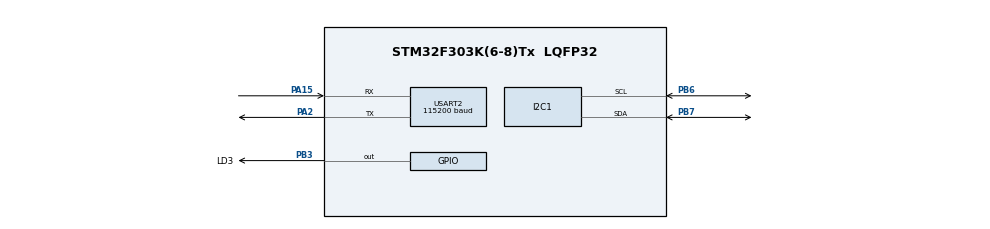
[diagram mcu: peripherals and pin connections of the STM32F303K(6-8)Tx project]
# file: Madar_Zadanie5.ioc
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I2C1.Timing=0x00201D2B
Mcu.Family=STM32F3
Mcu.Name=STM32F303K(6-8)Tx
Mcu.Package=LQFP32
NVIC.PriorityGroup=NVIC_PRIORITYGROUP_4
PA15.Mode=Asynchronous
PA15.Signal=USART2_RX
PA2.Mode=Asynchronous
PA2.Signal=USART2_TX
PB3.GPIO_Label=LD3
PB3.Signal=GPIO_Output
PB6.Mode=I2C
PB6.Signal=I2C1_SCL
PB7.Mode=I2C
PB7.Signal=I2C1_SDA
ProjectManager.HeapSize=0x200
ProjectManager.StackSize=0x400
ProjectManager.TargetToolchain=STM32CubeIDE
RCC.AHBFreq_Value=8000000
RCC.APB1Freq_Value=8000000
RCC.APB2Freq_Value=8000000
RCC.CortexFreq_Value=8000000
RCC.HSE_VALUE=8000000
RCC.HSI_VALUE=8000000
RCC.SYSCLKFreq_VALUE=8000000
USART2.BaudRate=115200
USART2.VirtualMode-Asynchronous=VM_ASYNC
board=custom

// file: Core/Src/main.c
/* USER CODE BEGIN Header */
/**
  ******************************************************************************
  * @file           : main.c
  * @brief          : Main program body
  ******************************************************************************
  * @attention
  *
  * Copyright (c) 2026 STMicroelectronics.
  * All rights reserved.
  *
  * This software is licensed under terms that can be found in the LICENSE file
  * in the root directory of this software component.
  * If no LICENSE file comes with this software, it is provided AS-IS.
  *
  ******************************************************************************
  */
/* USER CODE END Header */
#include "main.h"
#include "i2c.h"
#include "usart.h"
#include "gpio.h"

/* USER CODE BEGIN Includes */
#include <stdio.h>
#include "hts221.h"
#include "lps25hb.h"
/* USER CODE END Includes */

/* USER CODE BEGIN PV */
static float p0 = 0.0f;
/* USER CODE END PV */

void SystemClock_Config(void);

int main(void)
{

  /* MCU Configuration--------------------------------------------------------*/

  /* Reset of all peripherals, Initializes the Flash interface and the Systick. */
  LL_APB2_GRP1_EnableClock(LL_APB2_GRP1_PERIPH_SYSCFG);
  LL_APB1_GRP1_EnableClock(LL_APB1_GRP1_PERIPH_PWR);

  /* System interrupt init*/
  NVIC_SetPriorityGrouping(NVIC_PRIORITYGROUP_4);

  /* SysTick_IRQn interrupt configuration */
  NVIC_SetPriority(SysTick_IRQn, NVIC_EncodePriority(NVIC_GetPriorityGrouping(),15, 0));

  /* Configure the system clock */
  SystemClock_Config();

  /* Initialize all configured peripherals */
  MX_GPIO_Init();
  MX_I2C1_Init();
  MX_USART2_UART_Init();
  /* USER CODE BEGIN 2 */
  LL_mDelay(100);

    HTS221_RegisterCallbacks(I2C1_Read, I2C1_Write);
    LPS25HB_RegisterCallbacks(I2C1_Read, I2C1_Write);

    if (!HTS221_Init())  USART2_SendString("HTS221 CHYBA\r\n");
    if (!LPS25HB_Init()) USART2_SendString("LPS25HB CHYBA\r\n");

    LL_mDelay(1000);
    for (int i = 0; i < 20; i++)
    {
        p0 += LPS25HB_GetPressure();
        LL_mDelay(150);
    }
    p0 /= 20.0f;
  /* USER CODE END 2 */

  /* Infinite loop */
  while (1)
  {

    /* USER CODE BEGIN 3 */
	  char buf[60];
	  float t = HTS221_GetTemperature();
	  float h = HTS221_GetHumidity();
	  float p = LPS25HB_GetPressure();
	  float alt = LPS25HB_CalcAltitude(p, p0);

	  sprintf(buf, "%04.1f,%02d,%07.2f,%05.2f\r\n", t, (int)(h + 0.5f), p, alt);
	  USART2_SendString(buf);
	  LL_mDelay(1000);  }
  /* USER CODE END 3 */
}

void SystemClock_Config(void)
{
  LL_FLASH_SetLatency(LL_FLASH_LATENCY_0);
  while(LL_FLASH_GetLatency()!= LL_FLASH_LATENCY_0)
  {
  }
  LL_RCC_HSI_Enable();

   /* Wait till HSI is ready */
  while(LL_RCC_HSI_IsReady() != 1)
  {

  }
  LL_RCC_HSI_SetCalibTrimming(16);
  LL_RCC_SetAHBPrescaler(LL_RCC_SYSCLK_DIV_1);
  LL_RCC_SetAPB1Prescaler(LL_RCC_APB1_DIV_1);
  LL_RCC_SetAPB2Prescaler(LL_RCC_APB2_DIV_1);
  LL_RCC_SetSysClkSource(LL_RCC_SYS_CLKSOURCE_HSI);

   /* Wait till System clock is ready */
  while(LL_RCC_GetSysClkSource() != LL_RCC_SYS_CLKSOURCE_STATUS_HSI)
  {

  }
  LL_Init1msTick(8000000);
  LL_SetSystemCoreClock(8000000);
  LL_RCC_SetI2CClockSource(LL_RCC_I2C1_CLKSOURCE_HSI);
}

void Error_Handler(void)
{
  __disable_irq();
  while (1)
  {
  }
}
